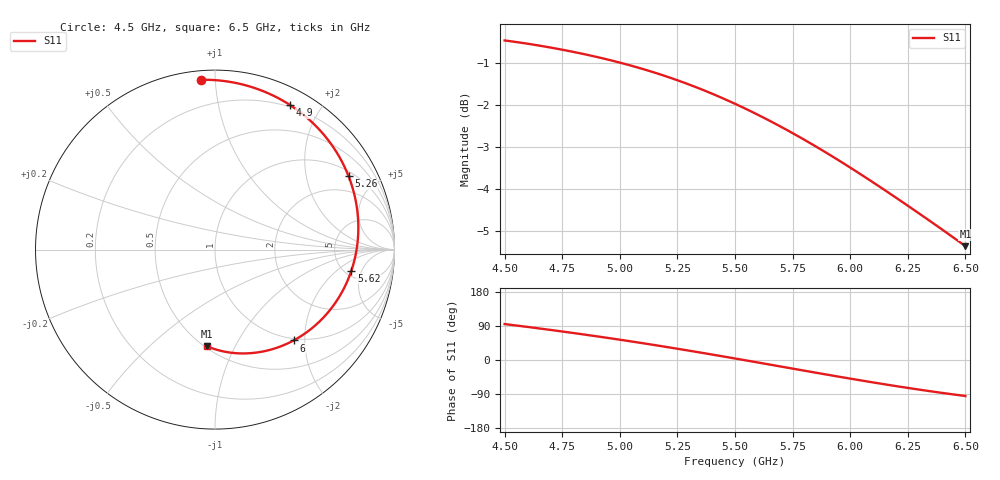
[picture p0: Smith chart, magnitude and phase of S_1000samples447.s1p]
! TOUCHSTONE file generated by CST MICROWAVE STUDIO
! Date and time: Fri Oct 28 05:05:48 2022
! Project name: L.cst
! Parameters = {Di=1.27; Epsilon_r=1.56; InnerDiameter=1.27; Length=2; Lf=10; Lg=60; OuterConductorThickness=0.2921; OuterDiameter=3.6; Wf=3; Wp=41.2; de=1.5; df=6.8; g=0.8; gx=2.48375; gy=4.858; h=2.34; hf=1.524; px=11.8344; py=9.13022; w=9.7; wx=9.35069; wy=4.27221}
! Header version: 2018
! Port assignment regex: !\s*Touchstone port\s*([0-9]+)\s*=\s*(CST MWS port|CST DS port)\s*([0-9]+|Zmin|Zmax)\s*\(\"(.*)\"\)(\s*mode\s*([0-9]+))?.*
! Touchstone port assignment:
! Touchstone port 1 = CST MWS port 1 ("")
# GHz S DB R 50
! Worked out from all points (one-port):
!   101 points, 4.5 GHz to 6.5 GHz, reference 50 ohm
!   lowest |S11| = -5.4 dB at 6.5 GHz (marker M1), VSWR 3.34, Z = 25.6 - j38.8 ohm
!   |S11| at or under -10 dB: nowhere
!   S11 on the Smith chart (normalised r, x): 4.5 GHz: 0.05, +0.92; 4.9 GHz: 0.18, +1.63; 5.26 GHz: 1.20, +3.52; 5.62 GHz: 5.73, -3.28; 6 GHz: 0.97, -1.77; 6.5 GHz: 0.51, -0.78
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4.5  -0.45 94.8
4.58  -0.51 88.8
4.64  -0.56 84.1
4.76  -0.68 74.4
4.84  -0.77 67.7
4.9  -0.84 62.5
5  -0.98 53.6
5.06  -1.07 48.0
5.14  -1.20 40.5
5.2  -1.31 34.6
5.26  -1.42 28.7
5.32  -1.54 22.7
5.38  -1.68 16.5
5.44  -1.81 10.3
5.5  -1.96 4.0
5.56  -2.12 -2.4
5.62  -2.28 -8.8
5.68  -2.45 -15.2
5.76  -2.69 -23.8
5.88  -3.08 -36.6
5.94  -3.28 -42.9
6  -3.49 -49.1
6.06  -3.70 -55.2
6.12  -3.91 -61.2
6.18  -4.14 -67.0
6.26  -4.43 -74.6
6.38  -4.89 -85.2
6.5  -5.36 -95.0
